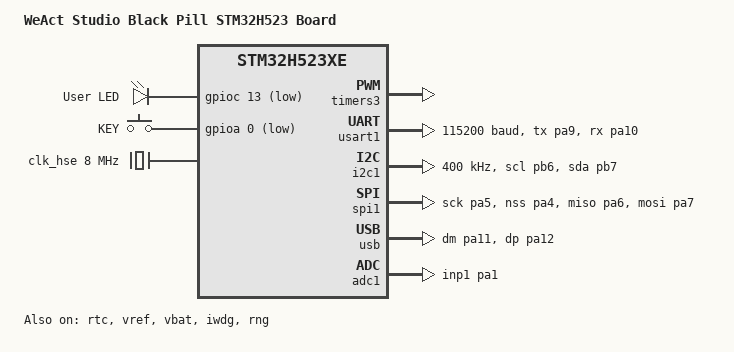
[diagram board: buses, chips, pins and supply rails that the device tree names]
/*
 * Copyright (c) 2025 Filip Stojanovic <filipembedded@gmail.com>
 *
 * SPDX-License-Identifier: Apache-2.0
 */

/dts-v1/;
#include <st/h5/stm32h523Xe.dtsi>
#include <st/h5/stm32h523retx-pinctrl.dtsi>
#include <zephyr/dt-bindings/input/input-event-codes.h>

/ {
	model = "WeAct Studio Black Pill STM32H523 Board";
	compatible = "weact,blackpill-h523ce";

	chosen {
		zephyr,console = &usart1;
		zephyr,shell-uart = &usart1;
		zephyr,sram = &sram1;
		zephyr,flash = &flash0;
	};

	leds {
		compatible = "gpio-leds";

		user_led: led {
			gpios = <&gpioc 13 GPIO_ACTIVE_LOW>;
			label = "User LED";
		};
	};

	gpio_keys {
		compatible = "gpio-keys";

		user_button: button {
			label = "KEY";
			gpios = <&gpioa 0 (GPIO_ACTIVE_LOW | GPIO_PULL_UP)>;
			zephyr,code = <INPUT_KEY_0>;
		};
	};

	aliases {
		led0 = &user_led;
		sw0 = &user_button;
		volt-sensor0 = &vref;
		volt-sensor1 = &vbat;
	};
};

&timers3 {
	status = "okay";
	st,prescaler = <24>;

	pwm3: pwm {
		status = "okay";
		pinctrl-0 = <&tim3_ch3_pb0 &tim3_ch4_pb1>;
		pinctrl-names = "default";
	};
};

&usart1 {
	pinctrl-0 = <&usart1_tx_pa9 &usart1_rx_pa10>;
	pinctrl-names = "default";
	status = "okay";
	current-speed = <115200>;
};

&i2c1 {
	pinctrl-0 = <&i2c1_scl_pb6 &i2c1_sda_pb7>;
	pinctrl-names = "default";
	status = "okay";
	clock-frequency = <I2C_BITRATE_FAST>;
};

&spi1 {
	pinctrl-0 = <&spi1_sck_pa5 &spi1_nss_pa4 &spi1_miso_pa6 &spi1_mosi_pa7>;
	pinctrl-names = "default";
	status = "okay";
};

&rtc {
	clocks = <&rcc STM32_CLOCK(APB3, 21)>, <&rcc STM32_SRC_LSE RTC_SEL(1)>;
	status = "okay";
};

zephyr_udc0: &usb {
	pinctrl-0 = <&usb_dm_pa11 &usb_dp_pa12>;
	pinctrl-names = "default";
	status = "okay";
};

&adc1 {
	clocks = <&rcc STM32_CLOCK(AHB2, 10)>, <&rcc STM32_SRC_HCLK ADCDAC_SEL(0)>;
	pinctrl-0 = <&adc1_inp1_pa1>;
	pinctrl-names = "default";
	st,adc-clock-source = "ASYNC";
	st,adc-prescaler = <8>;
	status = "okay";
};

&clk_lsi {
	status = "okay";
};

&clk_lse {
	status = "okay";
};

&clk_hsi {
	status = "okay";
};

&clk_hsi48 {
	status = "okay";
};

&clk_hse {
	status = "okay";
	clock-frequency = <DT_FREQ_M(8)>;
};

&rcc {
	clocks = <&pll>;
	clock-frequency = <DT_FREQ_M(240)>;
	ahb-prescaler = <1>;
	apb1-prescaler = <1>;
	apb2-prescaler = <1>;
	apb3-prescaler = <1>;
};

&pll {
	div-m = <1>;
	mul-n = <60>;
	div-p = <2>;
	div-q = <2>;
	div-r = <2>;
	clocks = <&clk_hse>;
	status = "okay";
};

&vref {
	status = "okay";
};

&vbat {
	status = "okay";
};

&iwdg {
	status = "okay";
};

&rng {
	status = "okay";
};
